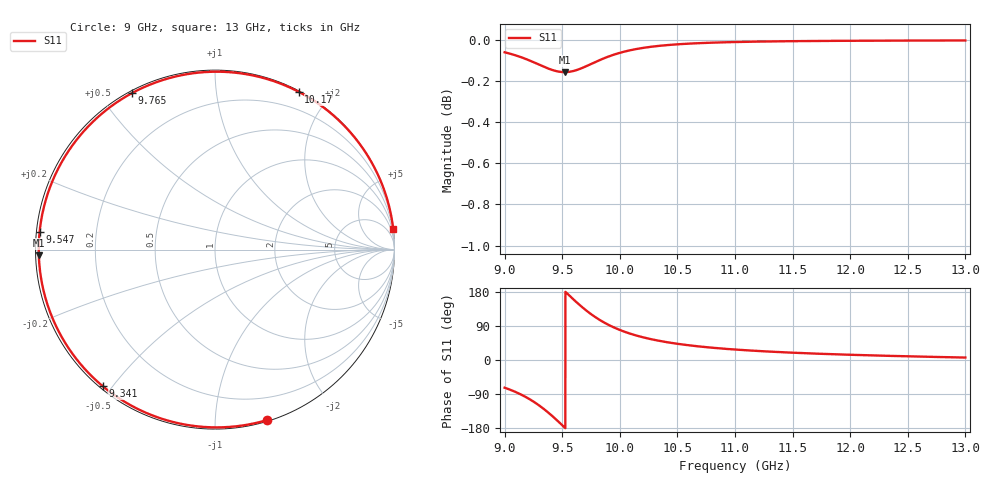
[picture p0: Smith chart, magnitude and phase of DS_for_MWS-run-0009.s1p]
! TOUCHSTONE file generated by CST DESIGN STUDIO
! Date and time: Tue Feb  4 17:28:51 2025
! Project name: C:\Work\MatlabApps\UnitCellOptimizationMatlab\CST\unitcell.cst
! Tree item: Tasks\Sweep1\SPara1\S-Parameters
! Header version: 2024
! Port assignment regex: !\s*Touchstone port\s*([0-9]+)\s*=\s*(CST MWS port|CST DES external port|CST DES block port)\s*(.+)\s* \(\"(.*)\"\)(\s*mode\s*([0-9]+))?.*
! Touchstone port assignment:
! Touchstone port 1 = CST DES external port 1 ("")
# GHz S MA R 50
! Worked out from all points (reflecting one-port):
!   4001 points, 9 GHz to 13 GHz, reference 50 ohm
!   lowest |S11| = -0.2 dB at 9.521 GHz (marker M1), VSWR 110.63, Z = 0.452 - j0.824 ohm
!   phase of S11 starts at -73 deg and turns -281 deg over the sweep
!   S11 on the Smith chart (normalised r, x): 9 GHz: 0.01, -1.35; 9.341 GHz: 0.01, -0.47; 9.547 GHz: 0.01, +0.05; 9.765 GHz: 0.01, +0.60; 10.17 GHz: 0.01, +1.66; 13 GHz: 0, +18
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9  0.9931 -73.1
9.093  0.9914 -84.1
9.199  0.989 -100.3
9.273  0.987 -114.3
9.341  0.985 -129.4
9.384  0.9839 -140.0
9.429  0.983 -152.0
9.465  0.9824 -162.0
9.5  0.9821 -172.0
9.521  0.9821 -178.1
9.547  0.9822 174.4
9.601  0.9828 158.9
9.662  0.9841 142.4
9.713  0.9855 129.6
9.765  0.987 117.9
9.814  0.9884 107.9
9.868  0.9899 98.2
10  0.9927 79.3
10.084  0.9941 70.1
10.174  0.9952 62.0
10.323  0.9965 51.7
10.5  0.9975 42.8
10.722  0.9982 34.7
11  0.9988 27.6
11.5  0.9993 19.3
12  0.9995 13.8
12.5  0.9996 9.7
13  0.9997 6.4
